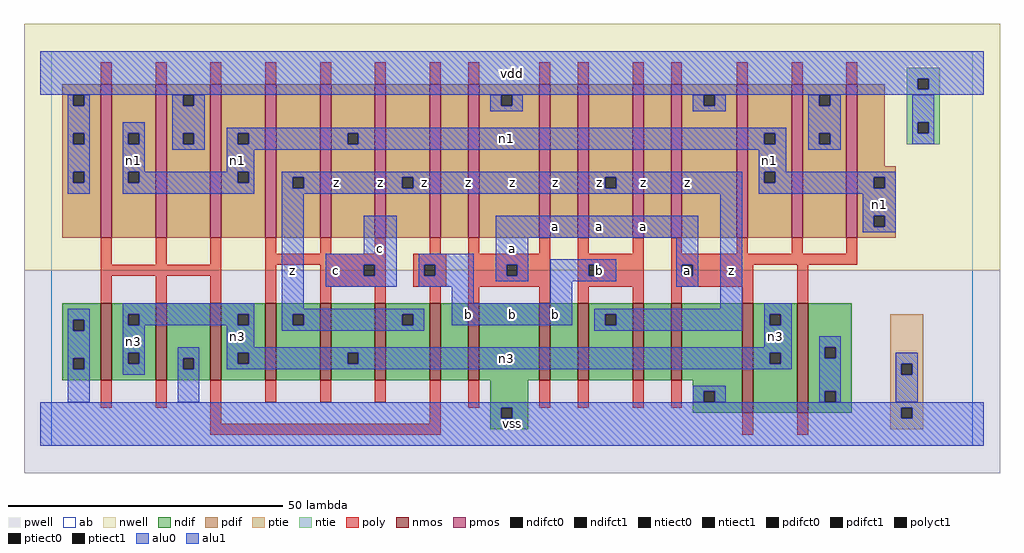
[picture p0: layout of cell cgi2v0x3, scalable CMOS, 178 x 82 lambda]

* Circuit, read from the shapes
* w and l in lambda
.subckt cgi2v0x3 a b c n1 n3 vdd vss z
M1 n3 b vss vss nfet w=14 l=2 m=3
M2 z c n3 vss nfet w=14 l=2 m=3
M3 n2 b z vss nfet w=14 l=2
M4 vss a n2 vss nfet w=14 l=2
M5 n4 a vss vss nfet w=14 l=2
M6 z b n4 vss nfet w=14 l=2
M7 n5 b z vss nfet w=14 l=2
M8 vss a n5 vss nfet w=14 l=2
M9 n3 a vss vss nfet w=20 l=2 m=2
M10 n1 b vdd vdd pfet w=28 l=2 m=3
M11 z c n1 vdd pfet w=28 l=2 m=3
M12 n6 b z vdd pfet w=28 l=2
M13 vdd a n6 vdd pfet w=28 l=2
M14 n7 a vdd vdd pfet w=28 l=2
M15 z b n7 vdd pfet w=28 l=2
M16 n8 b z vdd pfet w=28 l=2
M17 vdd a n8 vdd pfet w=28 l=2
M18 n1 a vdd vdd pfet w=28 l=2 m=3
.ends

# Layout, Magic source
magic
tech scmos
<< ab >>
rect 0 0 168 72
<< nwell >>
rect -5 32 173 77
<< pwell >>
rect -5 -5 173 32
<< poly >>
rect 9 66 11 70
rect 19 66 21 70
rect 29 66 31 70
rect 39 66 41 70
rect 49 66 51 70
rect 59 66 61 70
rect 69 66 71 70
rect 76 66 78 70
rect 89 66 91 70
rect 96 66 98 70
rect 106 66 108 70
rect 113 66 115 70
rect 125 66 127 70
rect 135 66 137 70
rect 145 66 147 70
rect 9 33 11 38
rect 19 33 21 38
rect 29 33 31 38
rect 9 31 31 33
rect 9 26 11 31
rect 19 26 21 31
rect 29 26 31 31
rect 39 35 41 38
rect 49 35 51 38
rect 59 35 61 38
rect 69 35 71 38
rect 76 35 78 38
rect 89 35 91 38
rect 39 33 61 35
rect 39 26 41 33
rect 49 31 57 33
rect 59 31 61 33
rect 49 29 61 31
rect 66 33 72 35
rect 66 31 68 33
rect 70 31 72 33
rect 66 29 72 31
rect 76 33 91 35
rect 76 31 83 33
rect 85 31 91 33
rect 76 29 91 31
rect 49 26 51 29
rect 59 26 61 29
rect 69 26 71 29
rect 76 26 78 29
rect 89 26 91 29
rect 96 35 98 38
rect 106 35 108 38
rect 96 33 108 35
rect 96 31 98 33
rect 100 31 108 33
rect 96 29 108 31
rect 96 26 98 29
rect 106 26 108 29
rect 113 35 115 38
rect 125 35 127 38
rect 135 35 137 38
rect 145 35 147 38
rect 113 33 147 35
rect 113 31 115 33
rect 117 31 128 33
rect 113 29 128 31
rect 113 26 115 29
rect 126 26 128 29
rect 136 26 138 33
rect 9 7 11 12
rect 19 7 21 12
rect 29 4 31 12
rect 39 8 41 12
rect 49 8 51 12
rect 59 8 61 12
rect 69 4 71 12
rect 76 7 78 12
rect 89 7 91 12
rect 96 7 98 12
rect 106 7 108 12
rect 113 7 115 12
rect 29 2 71 4
rect 126 2 128 6
rect 136 2 138 6
<< ndif >>
rect 2 23 9 26
rect 2 21 4 23
rect 6 21 9 23
rect 2 16 9 21
rect 2 14 4 16
rect 6 14 9 16
rect 2 12 9 14
rect 11 24 19 26
rect 11 22 14 24
rect 16 22 19 24
rect 11 17 19 22
rect 11 15 14 17
rect 16 15 19 17
rect 11 12 19 15
rect 21 16 29 26
rect 21 14 24 16
rect 26 14 29 16
rect 21 12 29 14
rect 31 24 39 26
rect 31 22 34 24
rect 36 22 39 24
rect 31 17 39 22
rect 31 15 34 17
rect 36 15 39 17
rect 31 12 39 15
rect 41 24 49 26
rect 41 22 44 24
rect 46 22 49 24
rect 41 12 49 22
rect 51 17 59 26
rect 51 15 54 17
rect 56 15 59 17
rect 51 12 59 15
rect 61 24 69 26
rect 61 22 64 24
rect 66 22 69 24
rect 61 12 69 22
rect 71 12 76 26
rect 78 12 89 26
rect 91 12 96 26
rect 98 24 106 26
rect 98 22 101 24
rect 103 22 106 24
rect 98 12 106 22
rect 108 12 113 26
rect 115 12 126 26
rect 80 7 87 12
rect 117 10 126 12
rect 117 8 119 10
rect 121 8 126 10
rect 80 5 82 7
rect 84 5 87 7
rect 117 6 126 8
rect 128 24 136 26
rect 128 22 131 24
rect 133 22 136 24
rect 128 17 136 22
rect 128 15 131 17
rect 133 15 136 17
rect 128 6 136 15
rect 138 18 146 26
rect 138 16 141 18
rect 143 16 146 18
rect 138 10 146 16
rect 138 8 141 10
rect 143 8 146 10
rect 138 6 146 8
rect 80 3 87 5
<< pdif >>
rect 2 64 9 66
rect 2 62 4 64
rect 6 62 9 64
rect 2 57 9 62
rect 2 55 4 57
rect 6 55 9 57
rect 2 50 9 55
rect 2 48 4 50
rect 6 48 9 50
rect 2 38 9 48
rect 11 57 19 66
rect 11 55 14 57
rect 16 55 19 57
rect 11 50 19 55
rect 11 48 14 50
rect 16 48 19 50
rect 11 38 19 48
rect 21 64 29 66
rect 21 62 24 64
rect 26 62 29 64
rect 21 57 29 62
rect 21 55 24 57
rect 26 55 29 57
rect 21 38 29 55
rect 31 57 39 66
rect 31 55 34 57
rect 36 55 39 57
rect 31 50 39 55
rect 31 48 34 50
rect 36 48 39 50
rect 31 38 39 48
rect 41 49 49 66
rect 41 47 44 49
rect 46 47 49 49
rect 41 38 49 47
rect 51 57 59 66
rect 51 55 54 57
rect 56 55 59 57
rect 51 38 59 55
rect 61 49 69 66
rect 61 47 64 49
rect 66 47 69 49
rect 61 38 69 47
rect 71 38 76 66
rect 78 64 89 66
rect 78 62 82 64
rect 84 62 89 64
rect 78 38 89 62
rect 91 38 96 66
rect 98 49 106 66
rect 98 47 101 49
rect 103 47 106 49
rect 98 38 106 47
rect 108 38 113 66
rect 115 64 125 66
rect 115 62 119 64
rect 121 62 125 64
rect 115 38 125 62
rect 127 57 135 66
rect 127 55 130 57
rect 132 55 135 57
rect 127 50 135 55
rect 127 48 130 50
rect 132 48 135 50
rect 127 38 135 48
rect 137 64 145 66
rect 137 62 140 64
rect 142 62 145 64
rect 137 57 145 62
rect 137 55 140 57
rect 142 55 145 57
rect 137 38 145 55
rect 147 51 152 66
rect 147 49 154 51
rect 147 47 150 49
rect 152 47 154 49
rect 147 42 154 47
rect 147 40 150 42
rect 152 40 154 42
rect 147 38 154 40
<< alu1 >>
rect -2 67 170 72
rect -2 65 158 67
rect 160 65 170 67
rect -2 64 170 65
rect 42 49 126 50
rect 42 47 44 49
rect 46 47 64 49
rect 66 47 101 49
rect 103 47 126 49
rect 42 46 126 47
rect 42 25 46 46
rect 57 35 63 42
rect 81 38 118 42
rect 50 33 63 35
rect 50 31 57 33
rect 59 31 63 33
rect 50 29 63 31
rect 67 33 77 35
rect 67 31 68 33
rect 70 31 77 33
rect 67 29 77 31
rect 81 33 87 38
rect 81 31 83 33
rect 85 31 87 33
rect 81 30 87 31
rect 91 33 103 34
rect 91 31 98 33
rect 100 31 103 33
rect 91 30 103 31
rect 114 33 118 38
rect 114 31 115 33
rect 117 31 118 33
rect 73 26 77 29
rect 91 26 95 30
rect 114 29 118 31
rect 42 24 68 25
rect 42 22 44 24
rect 46 22 64 24
rect 66 22 68 24
rect 73 22 95 26
rect 122 25 126 46
rect 99 24 126 25
rect 99 22 101 24
rect 103 22 126 24
rect 42 21 68 22
rect 99 21 126 22
rect -2 7 170 8
rect -2 5 82 7
rect 84 5 155 7
rect 157 5 170 7
rect -2 0 170 5
<< ptie >>
rect 153 15 159 24
rect 153 13 155 15
rect 157 13 159 15
rect 153 7 159 13
rect 153 5 155 7
rect 157 5 159 7
rect 153 3 159 5
<< ntie >>
rect 156 67 162 69
rect 156 65 158 67
rect 160 65 162 67
rect 156 59 162 65
rect 156 57 158 59
rect 160 57 162 59
rect 156 55 162 57
<< nmos >>
rect 9 12 11 26
rect 19 12 21 26
rect 29 12 31 26
rect 39 12 41 26
rect 49 12 51 26
rect 59 12 61 26
rect 69 12 71 26
rect 76 12 78 26
rect 89 12 91 26
rect 96 12 98 26
rect 106 12 108 26
rect 113 12 115 26
rect 126 6 128 26
rect 136 6 138 26
<< pmos >>
rect 9 38 11 66
rect 19 38 21 66
rect 29 38 31 66
rect 39 38 41 66
rect 49 38 51 66
rect 59 38 61 66
rect 69 38 71 66
rect 76 38 78 66
rect 89 38 91 66
rect 96 38 98 66
rect 106 38 108 66
rect 113 38 115 66
rect 125 38 127 66
rect 135 38 137 66
rect 145 38 147 66
<< polyct1 >>
rect 57 31 59 33
rect 68 31 70 33
rect 83 31 85 33
rect 98 31 100 33
rect 115 31 117 33
<< ndifct0 >>
rect 4 21 6 23
rect 4 14 6 16
rect 14 22 16 24
rect 14 15 16 17
rect 24 14 26 16
rect 34 22 36 24
rect 34 15 36 17
rect 54 15 56 17
rect 119 8 121 10
rect 131 22 133 24
rect 131 15 133 17
rect 141 16 143 18
rect 141 8 143 10
<< ndifct1 >>
rect 44 22 46 24
rect 64 22 66 24
rect 101 22 103 24
rect 82 5 84 7
<< ntiect0 >>
rect 158 57 160 59
<< ntiect1 >>
rect 158 65 160 67
<< ptiect0 >>
rect 155 13 157 15
<< ptiect1 >>
rect 155 5 157 7
<< pdifct0 >>
rect 4 62 6 64
rect 4 55 6 57
rect 4 48 6 50
rect 14 55 16 57
rect 14 48 16 50
rect 24 62 26 64
rect 24 55 26 57
rect 34 55 36 57
rect 34 48 36 50
rect 54 55 56 57
rect 82 62 84 64
rect 119 62 121 64
rect 130 55 132 57
rect 130 48 132 50
rect 140 62 142 64
rect 140 55 142 57
rect 150 47 152 49
rect 150 40 152 42
<< pdifct1 >>
rect 44 47 46 49
rect 64 47 66 49
rect 101 47 103 49
<< alu0 >>
rect 3 62 4 64
rect 6 62 7 64
rect 3 57 7 62
rect 22 62 24 64
rect 26 62 28 64
rect 3 55 4 57
rect 6 55 7 57
rect 3 50 7 55
rect 3 48 4 50
rect 6 48 7 50
rect 3 46 7 48
rect 13 57 17 59
rect 13 55 14 57
rect 16 55 17 57
rect 13 50 17 55
rect 22 57 28 62
rect 80 62 82 64
rect 84 62 86 64
rect 80 61 86 62
rect 117 62 119 64
rect 121 62 123 64
rect 117 61 123 62
rect 138 62 140 64
rect 142 62 144 64
rect 22 55 24 57
rect 26 55 28 57
rect 22 54 28 55
rect 32 57 134 58
rect 32 55 34 57
rect 36 55 54 57
rect 56 55 130 57
rect 132 55 134 57
rect 32 54 134 55
rect 138 57 144 62
rect 138 55 140 57
rect 142 55 144 57
rect 157 59 161 64
rect 157 57 158 59
rect 160 57 161 59
rect 157 55 161 57
rect 138 54 144 55
rect 32 50 37 54
rect 129 50 134 54
rect 13 48 14 50
rect 16 48 34 50
rect 36 48 37 50
rect 13 46 37 48
rect 129 48 130 50
rect 132 49 154 50
rect 132 48 150 49
rect 129 47 150 48
rect 152 47 154 49
rect 129 46 154 47
rect 3 23 7 25
rect 3 21 4 23
rect 6 21 7 23
rect 3 16 7 21
rect 3 14 4 16
rect 6 14 7 16
rect 3 8 7 14
rect 13 24 37 26
rect 13 22 14 24
rect 16 22 34 24
rect 36 22 37 24
rect 13 17 17 22
rect 32 18 37 22
rect 148 42 154 46
rect 148 40 150 42
rect 152 40 154 42
rect 148 39 154 40
rect 130 24 135 26
rect 130 22 131 24
rect 133 22 135 24
rect 130 18 135 22
rect 13 15 14 17
rect 16 15 17 17
rect 13 13 17 15
rect 23 16 27 18
rect 23 14 24 16
rect 26 14 27 16
rect 32 17 135 18
rect 32 15 34 17
rect 36 15 54 17
rect 56 15 131 17
rect 133 15 135 17
rect 32 14 135 15
rect 140 18 144 20
rect 140 16 141 18
rect 143 16 144 18
rect 23 8 27 14
rect 117 10 123 11
rect 117 8 119 10
rect 121 8 123 10
rect 140 10 144 16
rect 140 8 141 10
rect 143 8 144 10
rect 154 15 158 17
rect 154 13 155 15
rect 157 13 158 15
rect 154 8 158 13
<< labels >>
rlabel alu0 34 20 34 20 6 n3
rlabel alu0 15 19 15 19 6 n3
rlabel alu0 34 52 34 52 6 n1
rlabel alu0 15 52 15 52 6 n1
rlabel alu0 83 16 83 16 6 n3
rlabel alu0 132 20 132 20 6 n3
rlabel alu0 151 44 151 44 6 n1
rlabel alu0 131 52 131 52 6 n1
rlabel alu0 83 56 83 56 6 n1
rlabel alu1 44 32 44 32 6 z
rlabel alu1 52 32 52 32 6 c
rlabel alu1 60 36 60 36 6 c
rlabel alu1 52 48 52 48 6 z
rlabel alu1 60 48 60 48 6 z
rlabel alu1 84 4 84 4 6 vss
rlabel alu1 76 24 76 24 6 b
rlabel alu1 84 24 84 24 6 b
rlabel alu1 92 24 92 24 6 b
rlabel alu1 92 40 92 40 6 a
rlabel alu1 84 36 84 36 6 a
rlabel alu1 68 48 68 48 6 z
rlabel alu1 76 48 76 48 6 z
rlabel alu1 84 48 84 48 6 z
rlabel alu1 92 48 92 48 6 z
rlabel alu1 84 68 84 68 6 vdd
rlabel polyct1 116 32 116 32 6 a
rlabel alu1 124 32 124 32 6 z
rlabel alu1 100 32 100 32 6 b
rlabel alu1 100 40 100 40 6 a
rlabel alu1 108 40 108 40 6 a
rlabel alu1 100 48 100 48 6 z
rlabel alu1 108 48 108 48 6 z
rlabel alu1 116 48 116 48 6 z
<< end >>
